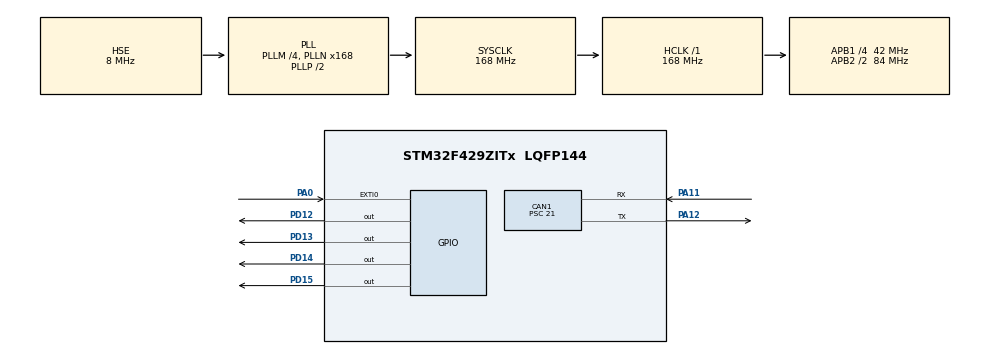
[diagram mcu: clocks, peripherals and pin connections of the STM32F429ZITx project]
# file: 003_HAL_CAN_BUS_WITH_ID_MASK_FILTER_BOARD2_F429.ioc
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CAN1.BS1=CAN_BS1_10TQ
CAN1.BS2=CAN_BS2_5TQ
CAN1.CalculateBaudRate=125000
CAN1.CalculateTimeBit=8000.00
CAN1.CalculateTimeQuantum=500.0
CAN1.Prescaler=21
Mcu.Family=STM32F4
Mcu.Name=STM32F429ZITx
Mcu.Package=LQFP144
NVIC.CAN1_RX0_IRQn=true\:0\:1\:false\:false\:true\:true\:true
NVIC.EXTI0_IRQn=true\:0\:0\:false\:false\:true\:true\:true
NVIC.PriorityGroup=NVIC_PRIORITYGROUP_0
PA0/WKUP.Signal=GPXTI0
PA11.Mode=CAN_Activate
PA11.Signal=CAN1_RX
PA12.Mode=CAN_Activate
PA12.Signal=CAN1_TX
PA13.Mode=Serial_Wire
PA13.Signal=SYS_JTMS-SWDIO
PA14.Mode=Serial_Wire
PA14.Signal=SYS_JTCK-SWCLK
PD12.Signal=GPIO_Output
PD13.Signal=GPIO_Output
PD14.Signal=GPIO_Output
PD15.Signal=GPIO_Output
PH0/OSC_IN.Mode=HSE-External-Oscillator
PH0/OSC_IN.Signal=RCC_OSC_IN
PH1/OSC_OUT.Mode=HSE-External-Oscillator
PH1/OSC_OUT.Signal=RCC_OSC_OUT
ProjectManager.HeapSize=0x200
ProjectManager.StackSize=0x400
ProjectManager.TargetToolchain=STM32CubeIDE
RCC.48MHZClocksFreq_Value=84000000
RCC.AHBFreq_Value=168000000
RCC.APB1CLKDivider=RCC_HCLK_DIV4
RCC.APB1Freq_Value=42000000
RCC.APB1TimFreq_Value=84000000
RCC.APB2CLKDivider=RCC_HCLK_DIV2
RCC.APB2Freq_Value=84000000
RCC.APB2TimFreq_Value=168000000
RCC.CortexFreq_Value=168000000
RCC.HCLKFreq_Value=168000000
RCC.HSE_VALUE=8000000
RCC.HSI_VALUE=16000000
RCC.LSE_VALUE=32768
RCC.PLLM=4
RCC.PLLN=168
RCC.PLLSourceVirtual=RCC_PLLSOURCE_HSE
RCC.SYSCLKFreq_VALUE=168000000
RCC.SYSCLKSource=RCC_SYSCLKSOURCE_PLLCLK
RCC.VCOOutputFreq_Value=336000000
board=custom

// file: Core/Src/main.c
/* USER CODE BEGIN Header */
/**
  ******************************************************************************
  * @file           : main.c
  * @brief          : Main program body
  ******************************************************************************
  * @attention
  *
  * <h2><center>&copy; Copyright (c) 2021 STMicroelectronics.
  * All rights reserved.</center></h2>
  *
  * This software component is licensed by ST under BSD 3-Clause license,
  * the "License"; You may not use this file except in compliance with the
  * License. You may obtain a copy of the License at:
  *                        opensource.org/licenses/BSD-3-Clause
  *
  ******************************************************************************
  */
/* USER CODE END Header */
#include "main.h"

CAN_HandleTypeDef hcan1;

/* USER CODE BEGIN PV */
CAN_TxHeaderTypeDef pTxHeader; // Gönderecegimiz verileri için
CAN_RxHeaderTypeDef pRxHeader; // Alacagımız veriler için
CAN_FilterTypeDef sFilterConfig; // Filtre özellikleri için

uint8_t count=0;
uint8_t rcount=0;
uint32_t pTxMailbox;
/* USER CODE END PV */

void SystemClock_Config(void);
static void MX_GPIO_Init(void);
static void MX_CAN1_Init(void);

int main(void)
{

  /* MCU Configuration--------------------------------------------------------*/

  /* Reset of all peripherals, Initializes the Flash interface and the Systick. */
  HAL_Init();

  /* Configure the system clock */
  SystemClock_Config();

  /* Initialize all configured peripherals */
  MX_GPIO_Init();
  MX_CAN1_Init();
  /* USER CODE BEGIN 2 */

// Start CAN communication
  HAL_CAN_Start(&hcan1);

// Enable interrupt
  HAL_CAN_ActivateNotification(&hcan1, CAN_IT_RX_FIFO0_MSG_PENDING); // fifo0'a mesaj gelince aktif olsun interrupt
                                            /* hangi interruptı aktif etmek istiyorsak onun parametresini ekledik
                                             @arg CAN_Interrupts can.h kütüphanesinden parametreleri görebiliriz.  */
               // Butona basılınca can ile mesajı göndericegiz detaylar EXTI0_IRQHandler fonksiyonunda (in stm32f4xx_it.c)

// Set pHeader Parameters
  pTxHeader.DLC = 1;      // Specifies the length of the frame that will be transmitted. (Biz 1 bytlık veri gönderiyoruz)
  pTxHeader.IDE = CAN_ID_STD;       // Specifies the type of identifier for the message that will be transmitted.
  	  	  	  	  	  	  	  	  // @ref CAN_identifier_type içinde alabilecegi degerler mevcut.
  pTxHeader.RTR = CAN_RTR_DATA;     /*!< Specifies the type of frame for the message that will be transmitted.
                                      This parameter can be a value of @ref CAN_remote_transmission_request */
  pTxHeader.StdId = 0x0156;             /*!< Specifies the standard identifier. This parameter must be a number
   	  	  	  	  	  	  	  	          between Min_Data = 0 and Max_Data = 0x7FF. */
  // Board1: FilterHigh = 0000;
  // FilterMaskIdHigh = 0000; oldugu için her türlü mesajı alacaktır.....

  // Alınan veriyi  CAN1_RX0_IRQHandler(void) ile alıcagız. Ayrıntılar -> stm32f4xx_it.c

// Set Filter Parameters ,       // ****** ID mask kullandık belli aralıklara sahip id'li mesajları alabiliriz.******
  sFilterConfig.FilterActivation = ENABLE;      // Enable or disable the filter.
  sFilterConfig.FilterBank = 0 ;                // Specifies the filter bank which will be initialized.
  	  	  	  	  	  	  	  	  	  	  	  	// Filtre numarası en düşük olan en yüksek önceliğe sahiptir.
  sFilterConfig.FilterFIFOAssignment = CAN_FILTER_FIFO0;
  sFilterConfig.FilterIdHigh = 0x0155 << 5;  // Filtermizi high'i.FIFO mailbox identifier register'a bak EXID[12:0] 5. bitden sonra başlatalımki STID[10:0] ile tam denk gelsin.
  	  	  	  	  	  	  	  	// 0000 0001 0101 0101 => 0x0155
  sFilterConfig.FilterIdLow = 0x0000;
  sFilterConfig.FilterMaskIdHigh = 0xFFF0 << 5;    // filterimizde son 4 bit hariç diger bitlerin hepsi karşılaştırılır. Filter ötelendigi için buda ötenlenmeli.
  	  	  	  	  	  	  	  	 // 1111 1111 1111 0000 =>  ilk 12 bit filter ile aynı olmalı son 4 bit kaç olursa olsun önemli degil.
  	  	  	  	  	  	  	  	 // 0000 ile FFFF arası degerlerin hepsi geçerli olacak.
  sFilterConfig.FilterMaskIdLow = 0x0000;
  sFilterConfig.FilterMode = CAN_FILTERMODE_IDMASK;
  sFilterConfig.FilterScale = CAN_FILTERSCALE_32BIT;

  HAL_CAN_ConfigFilter(&hcan1, &sFilterConfig);
  /* USER CODE END 2 */

  /* Infinite loop */
  while (1)
  {

  }
}

void SystemClock_Config(void)
{
  RCC_OscInitTypeDef RCC_OscInitStruct = {0};
  RCC_ClkInitTypeDef RCC_ClkInitStruct = {0};

  /** Configure the main internal regulator output voltage
  */
  __HAL_RCC_PWR_CLK_ENABLE();
  __HAL_PWR_VOLTAGESCALING_CONFIG(PWR_REGULATOR_VOLTAGE_SCALE1);
  /** Initializes the RCC Oscillators according to the specified parameters
  * in the RCC_OscInitTypeDef structure.
  */
  RCC_OscInitStruct.OscillatorType = RCC_OSCILLATORTYPE_HSE;
  RCC_OscInitStruct.HSEState = RCC_HSE_ON;
  RCC_OscInitStruct.PLL.PLLState = RCC_PLL_ON;
  RCC_OscInitStruct.PLL.PLLSource = RCC_PLLSOURCE_HSE;
  RCC_OscInitStruct.PLL.PLLM = 4;
  RCC_OscInitStruct.PLL.PLLN = 168;
  RCC_OscInitStruct.PLL.PLLP = RCC_PLLP_DIV2;
  RCC_OscInitStruct.PLL.PLLQ = 4;
  if (HAL_RCC_OscConfig(&RCC_OscInitStruct) != HAL_OK)
  {
    Error_Handler();
  }
  /** Initializes the CPU, AHB and APB buses clocks
  */
  RCC_ClkInitStruct.ClockType = RCC_CLOCKTYPE_HCLK|RCC_CLOCKTYPE_SYSCLK
                              |RCC_CLOCKTYPE_PCLK1|RCC_CLOCKTYPE_PCLK2;
  RCC_ClkInitStruct.SYSCLKSource = RCC_SYSCLKSOURCE_PLLCLK;
  RCC_ClkInitStruct.AHBCLKDivider = RCC_SYSCLK_DIV1;
  RCC_ClkInitStruct.APB1CLKDivider = RCC_HCLK_DIV4;
  RCC_ClkInitStruct.APB2CLKDivider = RCC_HCLK_DIV2;

  if (HAL_RCC_ClockConfig(&RCC_ClkInitStruct, FLASH_LATENCY_5) != HAL_OK)
  {
    Error_Handler();
  }
}

static void MX_CAN1_Init(void)
{

  hcan1.Instance = CAN1;
  hcan1.Init.Prescaler = 21;
  hcan1.Init.Mode = CAN_MODE_NORMAL;
  hcan1.Init.SyncJumpWidth = CAN_SJW_1TQ;
  hcan1.Init.TimeSeg1 = CAN_BS1_10TQ;
  hcan1.Init.TimeSeg2 = CAN_BS2_5TQ;
  hcan1.Init.TimeTriggeredMode = DISABLE;
  hcan1.Init.AutoBusOff = DISABLE;
  hcan1.Init.AutoWakeUp = DISABLE;
  hcan1.Init.AutoRetransmission = DISABLE;
  hcan1.Init.ReceiveFifoLocked = DISABLE;
  hcan1.Init.TransmitFifoPriority = DISABLE;
  if (HAL_CAN_Init(&hcan1) != HAL_OK)
  {
    Error_Handler();
  }

}

static void MX_GPIO_Init(void)
{
  GPIO_InitTypeDef GPIO_InitStruct = {0};

  /* GPIO Ports Clock Enable */
  __HAL_RCC_GPIOH_CLK_ENABLE();
  __HAL_RCC_GPIOA_CLK_ENABLE();
  __HAL_RCC_GPIOD_CLK_ENABLE();

  /*Configure GPIO pin Output Level */
  HAL_GPIO_WritePin(GPIOD, GPIO_PIN_12|GPIO_PIN_13|GPIO_PIN_14|GPIO_PIN_15, GPIO_PIN_RESET);

  /*Configure GPIO pin : PA0 */
  GPIO_InitStruct.Pin = GPIO_PIN_0;
  GPIO_InitStruct.Mode = GPIO_MODE_IT_RISING;
  GPIO_InitStruct.Pull = GPIO_NOPULL;
  HAL_GPIO_Init(GPIOA, &GPIO_InitStruct);

  /*Configure GPIO pins : PD12 PD13 PD14 PD15 */
  GPIO_InitStruct.Pin = GPIO_PIN_12|GPIO_PIN_13|GPIO_PIN_14|GPIO_PIN_15;
  GPIO_InitStruct.Mode = GPIO_MODE_OUTPUT_PP;
  GPIO_InitStruct.Pull = GPIO_NOPULL;
  GPIO_InitStruct.Speed = GPIO_SPEED_FREQ_LOW;
  HAL_GPIO_Init(GPIOD, &GPIO_InitStruct);

  /* EXTI interrupt init*/
  HAL_NVIC_SetPriority(EXTI0_IRQn, 0, 0);
  HAL_NVIC_EnableIRQ(EXTI0_IRQn);

}

void Error_Handler(void)
{
  __disable_irq();
  while (1)
  {
  }
}

/************************ (C) COPYRIGHT STMicroelectronics *****END OF FILE****/
